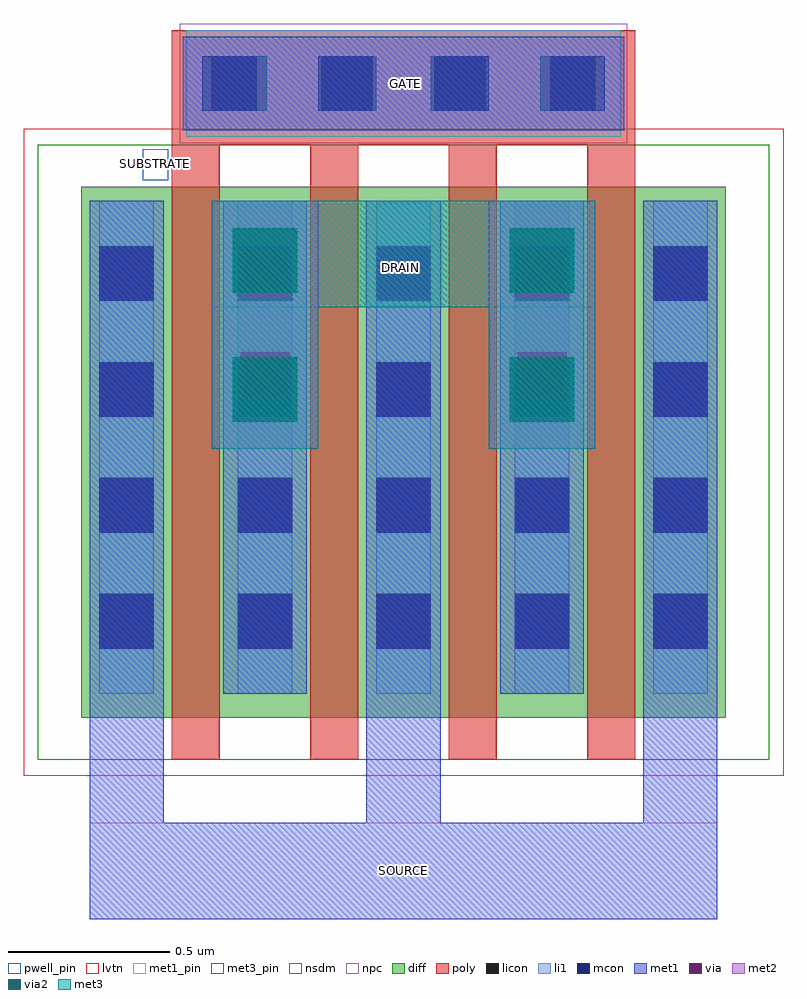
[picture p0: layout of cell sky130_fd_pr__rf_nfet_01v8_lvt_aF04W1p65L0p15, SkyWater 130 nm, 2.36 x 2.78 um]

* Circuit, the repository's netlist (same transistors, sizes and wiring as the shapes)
* Copyright 2020 The SkyWater PDK Authors
*
* Licensed under the Apache License, Version 2.0 (the "License");
* you may not use this file except in compliance with the License.
* You may obtain a copy of the License at
*
*     https://www.apache.org/licenses/LICENSE-2.0
*
* Unless required by applicable law or agreed to in writing, software
* distributed under the License is distributed on an "AS IS" BASIS,
* WITHOUT WARRANTIES OR CONDITIONS OF ANY KIND, either express or implied.
* See the License for the specific language governing permissions and
* limitations under the License.
*
* SPDX-License-Identifier: Apache-2.0


.subckt sky130_fd_pr__rf_nfet_01v8_lvt_aF04W1p65L0p15 DRAIN GATE SOURCE SUBSTRATE
X0 SOURCE GATE DRAIN SUBSTRATE sky130_fd_pr__nfet_01v8_lvt w=1.65e+06u l=150000u
X1 DRAIN GATE SOURCE SUBSTRATE sky130_fd_pr__nfet_01v8_lvt w=1.65e+06u l=150000u
X2 DRAIN GATE SOURCE SUBSTRATE sky130_fd_pr__nfet_01v8_lvt w=1.65e+06u l=150000u
X3 SOURCE GATE DRAIN SUBSTRATE sky130_fd_pr__nfet_01v8_lvt w=1.65e+06u l=150000u
.ends

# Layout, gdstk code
import gdstk
lib = gdstk.Library(unit=1e-6, precision=1e-09)
def R(c, l, rs):  # rectangles x0, y0, x1, y1
    for r in rs: c.add(gdstk.rectangle(r[:2], r[2:], *l))
def A(c, l, x, y, w, h, nx, ny, dx, dy):  # array of equal rectangles
    R(c, l, [(x+i*dx, y+j*dy, x+i*dx+w, y+j*dy+h) for i in range(nx) for j in range(ny)])
diff = (65, 20)
poly = (66, 20)
licon = (66, 44)
li1 = (67, 20)
mcon = (67, 44)
met1_pin = (68, 16)
met1 = (68, 20)
via = (68, 44)
met2 = (69, 20)
via2 = (69, 44)
met3_pin = (70, 16)
met3 = (70, 20)
nsdm = (93, 44)
npc = (95, 20)
pwell_pin = (122, 16)
lvtn = (125, 44)

sky130_fd_pr__rf_nfet_01 = lib.new_cell('sky130_fd_pr__rf_nfet_01v8_lvt_aF04W1p65L0p15')
A(sky130_fd_pr__rf_nfet_01, diff, 0.18, 0.18, 0.28, 1.65, 3, 1, 0.43, 0)
A(sky130_fd_pr__rf_nfet_01, diff, 0.21, 0.18, 0.25, 1.65, 3, 1, 0.86, 0)
A(sky130_fd_pr__rf_nfet_01, diff, 0.46, 0.18, 0.15, 1.65, 4, 1, 0.43, 0)
A(sky130_fd_pr__rf_nfet_01, diff, 1.04, 0.18, 0.28, 1.65, 3, 1, 0.43, 0)
R(sky130_fd_pr__rf_nfet_01, diff, [(1.9,0.18,2.18,1.83)])
A(sky130_fd_pr__rf_nfet_01, poly, 0.46, 0.05, 0.15, 1.91, 4, 1, 0.43, 0)
A(sky130_fd_pr__rf_nfet_01, poly, 0.46, 0.05, 0.15, 0.13, 4, 2, 0.43, 1.78)
R(sky130_fd_pr__rf_nfet_01, poly, [(0.46,1.96,1.9,2.315), (0.505,1.985,1.855,2.315)])
A(sky130_fd_pr__rf_nfet_01, licon, 0.235, 0.395, 0.17, 0.17, 5, 4, 0.43, 0.36)
A(sky130_fd_pr__rf_nfet_01, licon, 0.585, 2.065, 0.17, 0.17, 4, 1, 0.34, 0)
A(sky130_fd_pr__rf_nfet_01, li1, 0.235, 0.255, 0.17, 1.53, 5, 1, 0.43, 0)
R(sky130_fd_pr__rf_nfet_01, li1, [(0.505,1.985,1.855,2.315), (0.555,2.065,1.805,2.235)])
A(sky130_fd_pr__rf_nfet_01, mcon, 0.235, 0.395, 0.17, 0.17, 5, 4, 0.43, 0.36)
A(sky130_fd_pr__rf_nfet_01, mcon, 0.555, 2.065, 0.17, 0.17, 4, 1, 0.36, 0)
R(sky130_fd_pr__rf_nfet_01, met1_pin, [(0.205,-0.445,2.155,-0.145), (0.495,2.005,1.865,2.295)])
R(sky130_fd_pr__rf_nfet_01, met1, [(0.495,2.005,1.865,2.295)])
R(sky130_fd_pr__rf_nfet_01, via, [(0.675,1.165,0.825,1.315), (1.535,1.165,1.685,1.315), (0.675,1.485,0.825,1.635), (1.535,1.485,1.685,1.635)])
R(sky130_fd_pr__rf_nfet_01, met2, [(0.585,1.015,0.915,1.785), (1.445,1.015,1.775,1.785), (0.62,1.08,0.88,1.72), (1.48,1.08,1.74,1.72)])
R(sky130_fd_pr__rf_nfet_01, via2, [(0.65,1.1,0.85,1.3), (1.51,1.1,1.71,1.3), (0.65,1.5,0.85,1.7), (1.51,1.5,1.71,1.7)])
R(sky130_fd_pr__rf_nfet_01, met3_pin, [(0.585,1.455,1.775,1.785)])
R(sky130_fd_pr__rf_nfet_01, met3, [(0.585,1.015,0.915,1.785), (1.445,1.015,1.775,1.785)])
A(sky130_fd_pr__rf_nfet_01, nsdm, 0.21, 0.05, 0.4, 1.91, 4, 1, 0.43, 0)
A(sky130_fd_pr__rf_nfet_01, nsdm, 0.48, 0.05, 0.54, 1.91, 3, 1, 0.43, 0)
R(sky130_fd_pr__rf_nfet_01, nsdm, [(0.045,0.05,0.59,1.96), (1.77,0.05,2.315,1.96)])
R(sky130_fd_pr__rf_nfet_01, npc, [(0.485,1.965,1.875,2.335)])
R(sky130_fd_pr__rf_nfet_01, pwell_pin, [(0.37,1.85,0.45,1.945)])
R(sky130_fd_pr__rf_nfet_01, lvtn, [(0,0,2.36,2.01)])
sky130_fd_pr__rf_nfet_01.add(gdstk.FlexPath([(0.585,1.62),(1.775,1.62)], 0.33, ends="flush", simple_path=True, layer=70, datatype=20))  # met3
sky130_fd_pr__rf_nfet_01.add(gdstk.FlexPath([(1.61,1.785),(1.61,0.255)], 0.26, ends="flush", simple_path=True, layer=68, datatype=20))  # met1
sky130_fd_pr__rf_nfet_01.add(gdstk.FlexPath([(0.75,1.785),(0.75,0.255)], 0.26, ends="flush", simple_path=True, layer=68, datatype=20))  # met1
sky130_fd_pr__rf_nfet_01.add(gdstk.FlexPath([(0.205,-0.295),(2.155,-0.295)], 0.3, ends="flush", simple_path=True, layer=68, datatype=20))  # met1
sky130_fd_pr__rf_nfet_01.add(gdstk.FlexPath([(0.32,1.785),(0.32,-0.445)], 0.23, ends="flush", simple_path=True, layer=68, datatype=20))  # met1
sky130_fd_pr__rf_nfet_01.add(gdstk.FlexPath([(1.18,1.785),(1.18,-0.445)], 0.23, ends="flush", simple_path=True, layer=68, datatype=20))  # met1
sky130_fd_pr__rf_nfet_01.add(gdstk.FlexPath([(2.04,1.785),(2.04,-0.445)], 0.23, ends="flush", simple_path=True, layer=68, datatype=20))  # met1
sky130_fd_pr__rf_nfet_01.add(gdstk.Label('DRAIN', (1.17,1.58), layer=70, texttype=16))
sky130_fd_pr__rf_nfet_01.add(gdstk.Label('GATE', (1.185,2.15), layer=68, texttype=16))
sky130_fd_pr__rf_nfet_01.add(gdstk.Label('SOURCE', (1.18,-0.295), layer=68, texttype=16))
sky130_fd_pr__rf_nfet_01.add(gdstk.Label('SUBSTRATE', (0.41,1.9), layer=64, texttype=59))

lib.write_gds('sky130_fd_pr__rf_nfet_01v8_lvt_aF04W1p65L0p15.gds')
